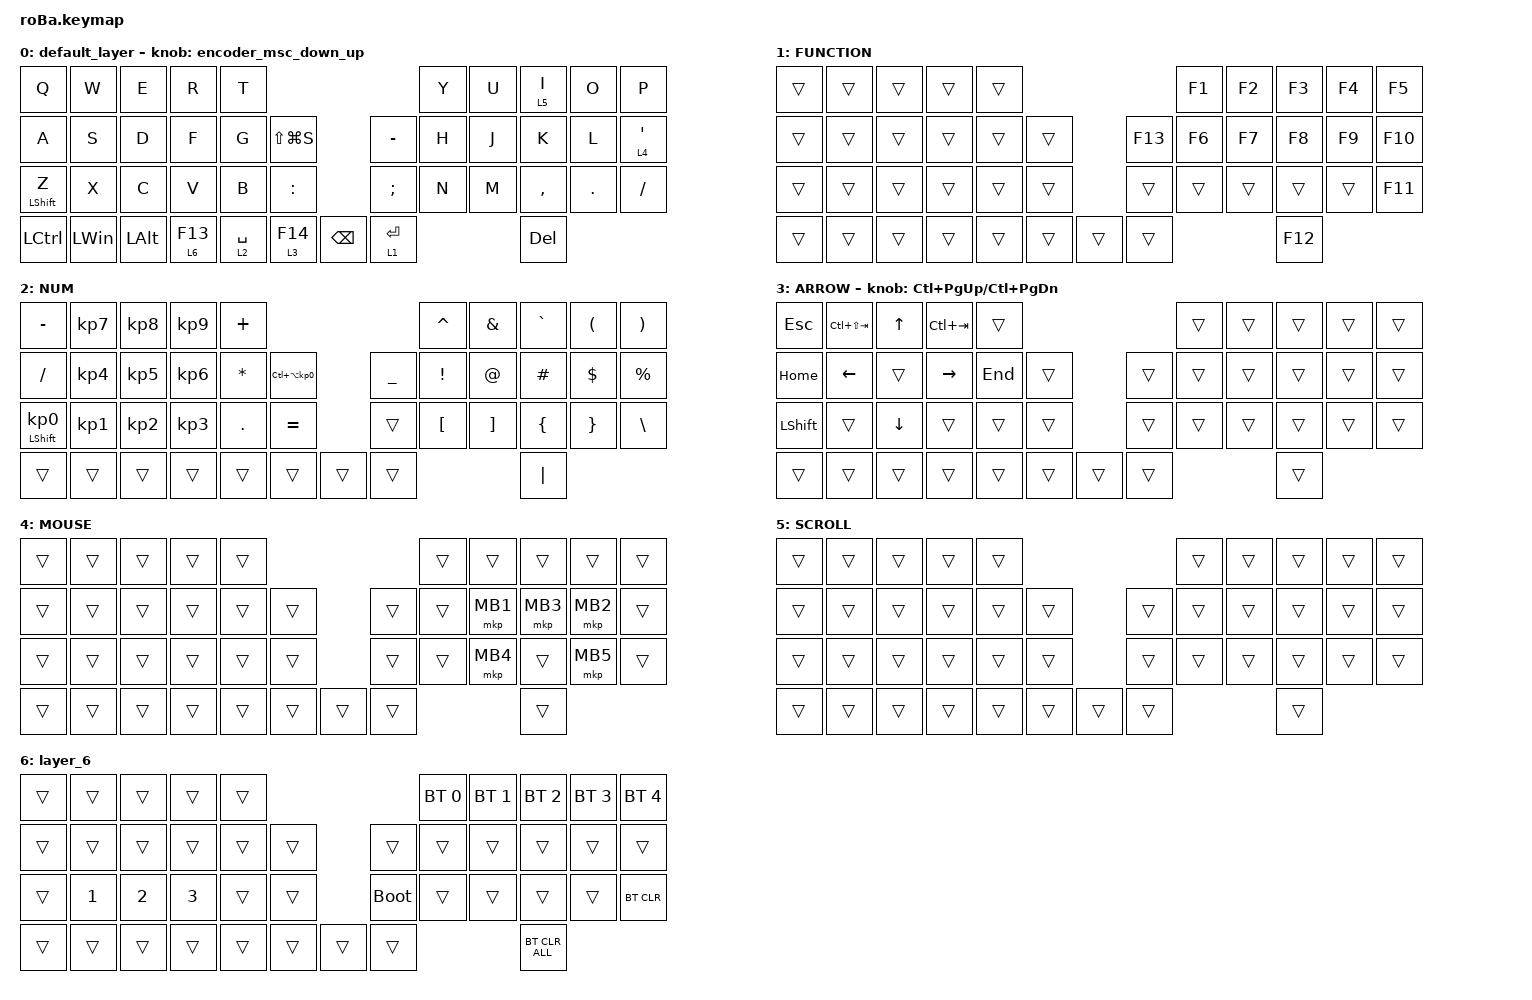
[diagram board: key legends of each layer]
#include <behaviors.dtsi>
#include <dt-bindings/zmk/bt.h>
#include <dt-bindings/zmk/keys.h>
#include <dt-bindings/zmk/pointing.h>

#define ZMK_POINTING_DEFAULT_SCRL_VAL 80

&mt {
    flavor = "balanced";
    quick-tap-ms = <0>;
};

&trackball {
    scroll-layers = <5>;

    // arrows {
    //     layers = <3>;
    //     bindings =
    //         <&kp RIGHT_ARROW>,
    //         <&kp LEFT_ARROW>,
    //         <&kp UP_ARROW>,
    //         <&kp DOWN_ARROW>;

    //     tick = <10>;
    //     wait-ms = <5>;
    //     tap-ms = <5>;
    // };
};

/ {
    input_processors {
        compatible = "zmk,input-processors";

        trackball_layer_filter: trackball_layer_filter {
            compatible = "zmk,input-processor-layer-filter";
            device = <&trackball>;
            layers = <4>;
            track-only;
        };
    };

    combos {
        compatible = "zmk,combos";

        esc {
            bindings = <&kp ESC>;
            key-positions = <10 11>;
        };

        tab {
            bindings = <&kp TAB>;
            key-positions = <11 12>;
        };

        shift_tab {
            bindings = <&kp LS(TAB)>;
            key-positions = <12 13>;
        };

        double_quotation {
            bindings = <&kp DOUBLE_QUOTES>;
            key-positions = <20 21>;
        };

        eq {
            bindings = <&kp EQUAL>;
            key-positions = <24 25>;
        };
    };

    macros {
        to_layer_0: to_layer_0 {
            compatible = "zmk,behavior-macro-one-param";
            #binding-cells = <1>;
            bindings = <&to 0 &macro_param_1to1 &kp MACRO_PLACEHOLDER>;
            label = "TO_LAYER_0";
        };
    };

    behaviors {
        lt_to_layer_0: lt_to_layer_0 {
            compatible = "zmk,behavior-hold-tap";
            label = "LAYER_TAP_TO_0";
            bindings = <&mo>, <&to_layer_0>;

            #binding-cells = <2>;
            tapping-term-ms = <200>;
        };

        encoder_msc_down_up: encoder_msc_down_up {
            compatible = "zmk,behavior-sensor-rotate";
            label = "ENCODER_MSC_DOWN_UP";
            #sensor-binding-cells = <0>;
            bindings = <&msc SCRL_UP>, <&msc SCRL_DOWN>;
            tap-ms = <20>;
        };
    };

    keymap {
        compatible = "zmk,keymap";

        default_layer {
            bindings = <
&kp Q             &kp W         &kp E         &kp R                        &kp T                                                          &kp Y        &kp U  &lt 5 I    &kp O    &kp P
&kp A             &kp S         &kp D         &kp F                        &kp G        &kp LS(LG(S))                      &kp MINUS      &kp H        &kp J  &kp K      &kp L    &lt 4 SQT
&mt LEFT_SHIFT Z  &kp X         &kp C         &kp V                        &kp B        &kp COLON                          &kp SEMICOLON  &kp N        &kp M  &kp COMMA  &kp DOT  &kp SLASH
&kp LCTRL         &kp LEFT_WIN  &kp LEFT_ALT  &lt_to_layer_0 6 F13  &lt 2 SPACE  &lt_to_layer_0 3 F14      &kp BACKSPACE  &lt 1 ENTER                             &kp DEL
            >;

            sensor-bindings = <&encoder_msc_down_up>;
        };

        FUNCTION {
            bindings = <
&trans  &trans  &trans  &trans  &trans                       &kp F1  &kp F2  &kp F3  &kp F4  &kp F5
&trans  &trans  &trans  &trans  &trans  &trans      &kp F13  &kp F6  &kp F7  &kp F8  &kp F9  &kp F10
&trans  &trans  &trans  &trans  &trans  &trans      &trans   &trans  &trans  &trans  &trans  &kp F11
&trans  &trans  &trans  &trans  &trans  &trans      &trans   &trans                          &kp F12
            >;
        };

        NUM {
            bindings = <
&kp MINUS                   &kp KP_NUMBER_7  &kp KP_NUMBER_8  &kp KP_NUMBER_9  &kp PLUS                                                   &kp CARET         &kp AMPERSAND      &kp GRAVE       &kp LEFT_PARENTHESIS  &kp RIGHT_PARENTHESIS
&kp SLASH                   &kp KP_NUMBER_4  &kp KP_NUMBER_5  &kp KP_NUMBER_6  &kp ASTERISK  &kp LC(LA(KP_NUMBER_0))      &kp UNDERSCORE  &kp EXCLAMATION   &kp AT_SIGN        &kp HASH        &kp DOLLAR            &kp PERCENT
&mt LEFT_SHIFT KP_NUMBER_0  &kp KP_NUMBER_1  &kp KP_NUMBER_2  &kp KP_NUMBER_3  &kp PERIOD    &kp EQUAL                    &trans          &kp LEFT_BRACKET  &kp RIGHT_BRACKET  &kp LEFT_BRACE  &kp RIGHT_BRACE       &kp BACKSLASH
&trans                      &trans           &trans           &trans           &trans        &trans                       &trans          &trans                                                                     &kp PIPE
            >;
        };

        ARROW {
            bindings = <
&kp ESCAPE      &kp LC(LS(TAB))         &kp UP_ARROW    &kp LC(TAB)              &trans                       &trans  &trans  &trans  &trans  &trans
&kp HOME        &kp LEFT_ARROW          &trans          &kp RIGHT_ARROW          &kp END  &trans      &trans  &trans  &trans  &trans  &trans  &trans
&kp LEFT_SHIFT  &trans                  &kp DOWN_ARROW  &trans                   &trans   &trans      &trans  &trans  &trans  &trans  &trans  &trans
&trans          &trans                  &trans          &trans                   &trans   &trans      &trans  &trans                          &trans
            >;

            sensor-bindings = <&inc_dec_kp LC(PAGE_UP) LC(PAGE_DOWN)>;
        };

        MOUSE {
            bindings = <
&trans  &trans  &trans  &trans  &trans                      &trans  &trans    &trans    &trans      &trans
&trans  &trans  &trans  &trans  &trans  &trans      &trans  &trans  &mkp MB1  &mkp MB3  &mkp MB2    &trans
&trans  &trans  &trans  &trans  &trans  &trans      &trans  &trans  &mkp MB4  &trans    &mkp MB5    &trans
&trans  &trans  &trans  &trans  &trans  &trans      &trans  &trans                                  &trans
            >;
        };

        SCROLL {
            bindings = <
&trans  &trans  &trans  &trans  &trans                      &trans  &trans  &trans  &trans  &trans
&trans  &trans  &trans  &trans  &trans  &trans      &trans  &trans  &trans  &trans  &trans  &trans
&trans  &trans  &trans  &trans  &trans  &trans      &trans  &trans  &trans  &trans  &trans  &trans
&trans  &trans  &trans  &trans  &trans  &trans      &trans  &trans                          &trans
            >;
        };

        layer_6 {
            bindings = <
&trans  &trans        &trans        &trans        &trans                           &bt BT_SEL 0  &bt BT_SEL 1  &bt BT_SEL 2  &bt BT_SEL 3  &bt BT_SEL 4
&trans  &trans        &trans        &trans        &trans  &trans      &trans       &trans        &trans        &trans        &trans        &trans
&trans  &kp NUMBER_1  &kp NUMBER_2  &kp NUMBER_3  &trans  &trans      &bootloader  &trans        &trans        &trans        &trans        &bt BT_CLR
&trans  &trans        &trans        &trans        &trans  &trans      &trans       &trans                                                  &bt BT_CLR_ALL
            >;
        };
    };
};
